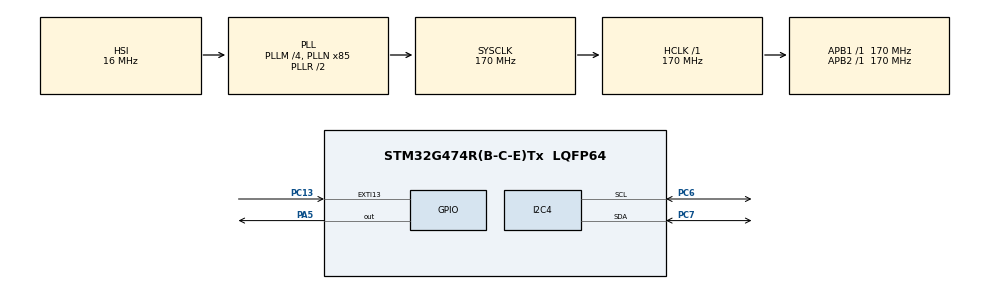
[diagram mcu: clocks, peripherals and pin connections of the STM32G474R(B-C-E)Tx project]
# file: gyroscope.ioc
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I2C4.Timing=0x40B285C2
Mcu.Family=STM32G4
Mcu.Name=STM32G474R(B-C-E)Tx
Mcu.Package=LQFP64
NUCLEO-G474RE.BUTTON=1
NUCLEO-G474RE.LD2=true
NUCLEO-G474RE.VCP=true
NVIC.EXTI15_10_IRQn=true\:0\:0\:false\:false\:true\:true\:true\:true
NVIC.PriorityGroup=NVIC_PRIORITYGROUP_4
PA13.GPIO_Label=T_SWDIO
PA13.Signal=SYS_JTMS-SWDIO
PA14.GPIO_Label=T_SWCLK
PA14.Signal=SYS_JTCK-SWCLK
PA2.Signal=LPUART1_TX
PA3.Signal=LPUART1_RX
PA5.Signal=GPIO_Output
PB3.GPIO_Label=T_SWO
PB3.Signal=SYS_JTDO-SWO
PC13.Signal=GPXTI13
PC14-OSC32_IN.GPIO_Label=RCC_OSC32_IN
PC14-OSC32_IN.Signal=RCC_OSC32_IN
PC15-OSC32_OUT.GPIO_Label=RCC_OSC32_OUT
PC15-OSC32_OUT.Signal=RCC_OSC32_OUT
PC6.Mode=I2C
PC6.Signal=I2C4_SCL
PC7.Mode=I2C
PC7.Signal=I2C4_SDA
PF0-OSC_IN.GPIO_Label=RCC_OSC_IN
PF0-OSC_IN.Signal=RCC_OSC_IN
PF1-OSC_OUT.GPIO_Label=RCC_OSC_OUT
PF1-OSC_OUT.Signal=RCC_OSC_OUT
ProjectManager.HeapSize=0x200
ProjectManager.StackSize=0x400
ProjectManager.TargetToolchain=STM32CubeIDE
RCC.ADC12Freq_Value=170000000
RCC.ADC345Freq_Value=170000000
RCC.AHBFreq_Value=170000000
RCC.APB1Freq_Value=170000000
RCC.APB1TimFreq_Value=170000000
RCC.APB2Freq_Value=170000000
RCC.APB2TimFreq_Value=170000000
RCC.CortexFreq_Value=170000000
RCC.EXTERNAL_CLOCK_VALUE=12288000
RCC.HCLKFreq_Value=170000000
RCC.HSE_VALUE=24000000
RCC.HSI48_VALUE=48000000
RCC.HSI_VALUE=16000000
RCC.LSE_VALUE=32768
RCC.PLLM=RCC_PLLM_DIV4
RCC.PLLN=85
RCC.RTCClockSelection=RCC_RTCCLKSOURCE_LSE
RCC.SYSCLKFreq_VALUE=170000000
RCC.SYSCLKSource=RCC_SYSCLKSOURCE_PLLCLK
RCC.USBFreq_Value=170000000
RCC.VCOOutputFreq_Value=340000000
VP_NUCLEO-G474RE_VS_BSP_COMMON.Mode=COMMON
VP_SYS_VS_DBSignals.Mode=DisableDeadBatterySignals
board=NUCLEO-G474RE

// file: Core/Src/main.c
/* USER CODE BEGIN Header */
/**
  ******************************************************************************
  * @file           : main.c
  * @brief          : BNO055 IMU Communication Test
  *                   Lights up LED when accelerometer detects movement
  ******************************************************************************
  */
/* USER CODE END Header */
#include "main.h"

/* USER CODE BEGIN PD */
// BNO055 I2C Address (ADR pin to GND = 0x28, 7-bit address)
// HAL uses 8-bit address format, so we shift left by 1
#define BNO055_I2C_ADDR         (0x28 << 1)  // = 0x50
// BNO055 Register Addresses
#define BNO055_CHIP_ID_REG      0x00
#define BNO055_OPR_MODE_REG     0x3D
#define BNO055_PWR_MODE_REG     0x3E
#define BNO055_SYS_TRIGGER_REG  0x3F
// Accelerometer data registers (LSB first)
#define BNO055_ACC_DATA_X_LSB   0x08
#define BNO055_ACC_DATA_X_MSB   0x09
#define BNO055_ACC_DATA_Y_LSB   0x0A
#define BNO055_ACC_DATA_Y_MSB   0x0B
#define BNO055_ACC_DATA_Z_LSB   0x0C
#define BNO055_ACC_DATA_Z_MSB   0x0D
// Expected chip ID
#define BNO055_CHIP_ID          0xA0
// Operating modes
#define BNO055_OPR_MODE_CONFIG  0x00
#define BNO055_OPR_MODE_ACCONLY 0x01
#define BNO055_OPR_MODE_NDOF    0x0C
// Power modes
#define BNO055_PWR_MODE_NORMAL  0x00
// Movement detection threshold
// Accelerometer returns data in m/s² * 100 (1 LSB = 0.01 m/s²)
// At rest, Z ≈ 980 (gravity ≈ 9.8 m/s²), X and Y ≈ 0
// We'll detect if X or Y deviates significantly from 0
#define ACCEL_THRESHOLD         50  // About 0.5 m/s² change triggers LED
/* USER CODE END PD */

COM_InitTypeDef BspCOMInit;
I2C_HandleTypeDef hi2c4;

/* USER CODE BEGIN PV */
// Store baseline (rest) accelerometer values
int16_t accel_baseline_x = 0;
int16_t accel_baseline_y = 0;
int16_t accel_baseline_z = 0;
uint8_t baseline_captured = 0;
/* USER CODE END PV */

void SystemClock_Config(void);
static void MX_GPIO_Init(void);
static void MX_I2C4_Init(void);
/* USER CODE BEGIN PFP */
// BNO055 helper functions
HAL_StatusTypeDef BNO055_ReadRegister(uint8_t reg, uint8_t *data);
HAL_StatusTypeDef BNO055_WriteRegister(uint8_t reg, uint8_t data);
HAL_StatusTypeDef BNO055_Init(void);
HAL_StatusTypeDef BNO055_ReadAccelerometer(int16_t *x, int16_t *y, int16_t *z);
/* USER CODE END PFP */

/* USER CODE BEGIN 0 */
/**
  * @brief  Read a single register from BNO055
  */
HAL_StatusTypeDef BNO055_ReadRegister(uint8_t reg, uint8_t *data)
{
    return HAL_I2C_Mem_Read(&hi2c4, BNO055_I2C_ADDR, reg,
                            I2C_MEMADD_SIZE_8BIT, data, 1, HAL_MAX_DELAY);
}
/**
  * @brief  Write a single register to BNO055
  */
HAL_StatusTypeDef BNO055_WriteRegister(uint8_t reg, uint8_t data)
{
    return HAL_I2C_Mem_Write(&hi2c4, BNO055_I2C_ADDR, reg,
                             I2C_MEMADD_SIZE_8BIT, &data, 1, HAL_MAX_DELAY);
}
/**
  * @brief  Initialize BNO055 sensor
  * @retval HAL_OK if successful, HAL_ERROR otherwise
  */
HAL_StatusTypeDef BNO055_Init(void)
{
    uint8_t chip_id = 0;
    HAL_StatusTypeDef status;
    // Small delay for BNO055 to boot up after power-on
    HAL_Delay(700);
    // Read and verify chip ID
    status = BNO055_ReadRegister(BNO055_CHIP_ID_REG, &chip_id);
    if (status != HAL_OK)
    {
        return HAL_ERROR;  // I2C communication failed
    }
    if (chip_id != BNO055_CHIP_ID)
    {
        return HAL_ERROR;  // Wrong chip ID - not a BNO055
    }
    // Set to CONFIG mode first (required before changing settings)
    status = BNO055_WriteRegister(BNO055_OPR_MODE_REG, BNO055_OPR_MODE_CONFIG);
    if (status != HAL_OK) return HAL_ERROR;
    HAL_Delay(25);  // Wait for mode switch
    // Reset the sensor (optional but recommended)
    status = BNO055_WriteRegister(BNO055_SYS_TRIGGER_REG, 0x20);
    if (status != HAL_OK) return HAL_ERROR;
    HAL_Delay(700);  // Wait for reset to complete
    // Verify chip ID again after reset
    status = BNO055_ReadRegister(BNO055_CHIP_ID_REG, &chip_id);
    if (status != HAL_OK || chip_id != BNO055_CHIP_ID)
    {
        return HAL_ERROR;
    }
    // Set power mode to Normal
    status = BNO055_WriteRegister(BNO055_PWR_MODE_REG, BNO055_PWR_MODE_NORMAL);
    if (status != HAL_OK) return HAL_ERROR;
    HAL_Delay(10);
    // Set operating mode to ACCONLY (accelerometer only - simplest mode)
    // You could also use NDOF for full sensor fusion
    status = BNO055_WriteRegister(BNO055_OPR_MODE_REG, BNO055_OPR_MODE_ACCONLY);
    if (status != HAL_OK) return HAL_ERROR;
    HAL_Delay(25);  // Wait for mode switch
    return HAL_OK;
}
/**
  * @brief  Read accelerometer X, Y, Z data
  * @Param Upadhyay  x, y, z: pointers to store accelerometer values
  * @retval HAL_OK if successful
  */
HAL_StatusTypeDef BNO055_ReadAccelerometer(int16_t *x, int16_t *y, int16_t *z)
{
    uint8_t buffer[6];
    HAL_StatusTypeDef status;
    // Read all 6 bytes starting from ACC_DATA_X_LSB
    status = HAL_I2C_Mem_Read(&hi2c4, BNO055_I2C_ADDR, BNO055_ACC_DATA_X_LSB,
                              I2C_MEMADD_SIZE_8BIT, buffer, 6, HAL_MAX_DELAY);
    if (status == HAL_OK)
    {
        // Combine LSB and MSB for each axis (little-endian)
        *x = (int16_t)((buffer[1] << 8) | buffer[0]);
        *y = (int16_t)((buffer[3] << 8) | buffer[2]);
        *z = (int16_t)((buffer[5] << 8) | buffer[4]);
    }
    return status;
}
/* USER CODE END 0 */

int main(void)
{

  /* USER CODE BEGIN 1 */
    int16_t accel_x, accel_y, accel_z;
    uint8_t bno055_ready = 0;
  /* USER CODE END 1 */

  /* MCU Configuration--------------------------------------------------------*/

  /* Reset of all peripherals, Initializes the Flash interface and the Systick. */
  HAL_Init();

  /* Configure the system clock */
  SystemClock_Config();

  /* Initialize all configured peripherals */
  MX_GPIO_Init();
  MX_I2C4_Init();
  /* USER CODE BEGIN 2 */
    // Initialize BNO055
    if (BNO055_Init() == HAL_OK)
    {
        bno055_ready = 1;
        // Blink LED 3 times to indicate successful initialization
        for (int i = 0; i < 3; i++)
        {
            HAL_GPIO_WritePin(LED2_GPIO_Port, LED2_Pin, GPIO_PIN_SET);
            HAL_Delay(200);
            HAL_GPIO_WritePin(LED2_GPIO_Port, LED2_Pin, GPIO_PIN_RESET);
            HAL_Delay(200);
        }
        // Wait a moment, then capture baseline accelerometer readings
        HAL_Delay(500);
        if (BNO055_ReadAccelerometer(&accel_baseline_x, &accel_baseline_y, &accel_baseline_z) == HAL_OK)
        {
            baseline_captured = 1;
        }
    }
    else
    {
        // Initialization failed - keep LED on solid to indicate error
        HAL_GPIO_WritePin(LD2_GPIO_Port, LD2_Pin, GPIO_PIN_SET);
    }
  /* USER CODE END 2 */

  /* Initialize led */
  BSP_LED_Init(LED_GREEN);

  /* Initialize USER push-button, will be used to trigger an interrupt each time it's pressed.*/
  BSP_PB_Init(BUTTON_USER, BUTTON_MODE_EXTI);

  /* Initialize COM1 port (115200, 8 bits (7-bit data + 1 stop bit), no parity */
  BspCOMInit.BaudRate   = 115200;
  BspCOMInit.WordLength = COM_WORDLENGTH_8B;
  BspCOMInit.StopBits   = COM_STOPBITS_1;
  BspCOMInit.Parity     = COM_PARITY_NONE;
  BspCOMInit.HwFlowCtl  = COM_HWCONTROL_NONE;
  if (BSP_COM_Init(COM1, &BspCOMInit) != BSP_ERROR_NONE)
  {
    Error_Handler();
  }

  /* Infinite loop */
  /* USER CODE BEGIN WHILE */
    while (1)
    {
        if (bno055_ready && baseline_captured)
        {
            // Read current accelerometer values
            if (BNO055_ReadAccelerometer(&accel_x, &accel_y, &accel_z) == HAL_OK)
            {
                // Calculate deviation from baseline
                int16_t diff_x = abs(accel_x - accel_baseline_x);
                int16_t diff_y = abs(accel_y - accel_baseline_y);
                int16_t diff_z = abs(accel_z - accel_baseline_z);
                // Check if any axis exceeds threshold (movement detected)
                if (diff_x > ACCEL_THRESHOLD ||
                    diff_y > ACCEL_THRESHOLD ||
                    diff_z > ACCEL_THRESHOLD)
                {
                    // Movement detected! Turn LED ON
                    HAL_GPIO_WritePin(LD2_GPIO_Port, LD2_Pin, GPIO_PIN_SET);
                }
                else
                {
                    // No movement - Turn LED OFF
                    HAL_GPIO_WritePin(LD2_GPIO_Port, LD2_Pin, GPIO_PIN_RESET);
                }
            }
        }
        // Small delay to prevent overwhelming the I2C bus
        HAL_Delay(50);
    /* USER CODE END WHILE */

    }
}

void SystemClock_Config(void)
{
  RCC_OscInitTypeDef RCC_OscInitStruct = {0};
  RCC_ClkInitTypeDef RCC_ClkInitStruct = {0};

  /** Configure the main internal regulator output voltage
  */
  HAL_PWREx_ControlVoltageScaling(PWR_REGULATOR_VOLTAGE_SCALE1_BOOST);

  /** Initializes the RCC Oscillators according to the specified parameters
  * in the RCC_OscInitTypeDef structure.
  */
  RCC_OscInitStruct.OscillatorType = RCC_OSCILLATORTYPE_HSI;
  RCC_OscInitStruct.HSIState = RCC_HSI_ON;
  RCC_OscInitStruct.HSICalibrationValue = RCC_HSICALIBRATION_DEFAULT;
  RCC_OscInitStruct.PLL.PLLState = RCC_PLL_ON;
  RCC_OscInitStruct.PLL.PLLSource = RCC_PLLSOURCE_HSI;
  RCC_OscInitStruct.PLL.PLLM = RCC_PLLM_DIV4;
  RCC_OscInitStruct.PLL.PLLN = 85;
  RCC_OscInitStruct.PLL.PLLP = RCC_PLLP_DIV2;
  RCC_OscInitStruct.PLL.PLLQ = RCC_PLLQ_DIV2;
  RCC_OscInitStruct.PLL.PLLR = RCC_PLLR_DIV2;
  if (HAL_RCC_OscConfig(&RCC_OscInitStruct) != HAL_OK)
  {
    Error_Handler();
  }

  /** Initializes the CPU, AHB and APB buses clocks
  */
  RCC_ClkInitStruct.ClockType = RCC_CLOCKTYPE_HCLK|RCC_CLOCKTYPE_SYSCLK
                              |RCC_CLOCKTYPE_PCLK1|RCC_CLOCKTYPE_PCLK2;
  RCC_ClkInitStruct.SYSCLKSource = RCC_SYSCLKSOURCE_PLLCLK;
  RCC_ClkInitStruct.AHBCLKDivider = RCC_SYSCLK_DIV1;
  RCC_ClkInitStruct.APB1CLKDivider = RCC_HCLK_DIV1;
  RCC_ClkInitStruct.APB2CLKDivider = RCC_HCLK_DIV1;

  if (HAL_RCC_ClockConfig(&RCC_ClkInitStruct, FLASH_LATENCY_4) != HAL_OK)
  {
    Error_Handler();
  }
}

static void MX_I2C4_Init(void)
{

  hi2c4.Instance = I2C4;
  hi2c4.Init.Timing = 0x40B285C2;
  hi2c4.Init.OwnAddress1 = 0;
  hi2c4.Init.AddressingMode = I2C_ADDRESSINGMODE_7BIT;
  hi2c4.Init.DualAddressMode = I2C_DUALADDRESS_DISABLE;
  hi2c4.Init.OwnAddress2 = 0;
  hi2c4.Init.OwnAddress2Masks = I2C_OA2_NOMASK;
  hi2c4.Init.GeneralCallMode = I2C_GENERALCALL_DISABLE;
  hi2c4.Init.NoStretchMode = I2C_NOSTRETCH_DISABLE;
  if (HAL_I2C_Init(&hi2c4) != HAL_OK)
  {
    Error_Handler();
  }

  /** Configure Analogue filter
  */
  if (HAL_I2CEx_ConfigAnalogFilter(&hi2c4, I2C_ANALOGFILTER_ENABLE) != HAL_OK)
  {
    Error_Handler();
  }

  /** Configure Digital filter
  */
  if (HAL_I2CEx_ConfigDigitalFilter(&hi2c4, 0) != HAL_OK)
  {
    Error_Handler();
  }

}

static void MX_GPIO_Init(void)
{
  GPIO_InitTypeDef GPIO_InitStruct = {0};

  /* GPIO Ports Clock Enable */
  __HAL_RCC_GPIOC_CLK_ENABLE();
  __HAL_RCC_GPIOF_CLK_ENABLE();
  __HAL_RCC_GPIOA_CLK_ENABLE();
  __HAL_RCC_GPIOB_CLK_ENABLE();

  /*Configure GPIO pin Output Level */
  HAL_GPIO_WritePin(GPIOA, GPIO_PIN_5, GPIO_PIN_RESET);

  /*Configure GPIO pin : PA5 */
  GPIO_InitStruct.Pin = GPIO_PIN_5;
  GPIO_InitStruct.Mode = GPIO_MODE_OUTPUT_PP;
  GPIO_InitStruct.Pull = GPIO_NOPULL;
  GPIO_InitStruct.Speed = GPIO_SPEED_FREQ_LOW;
  HAL_GPIO_Init(GPIOA, &GPIO_InitStruct);

}

void Error_Handler(void)
{
  __disable_irq();
  while (1)
  {
  }
}
